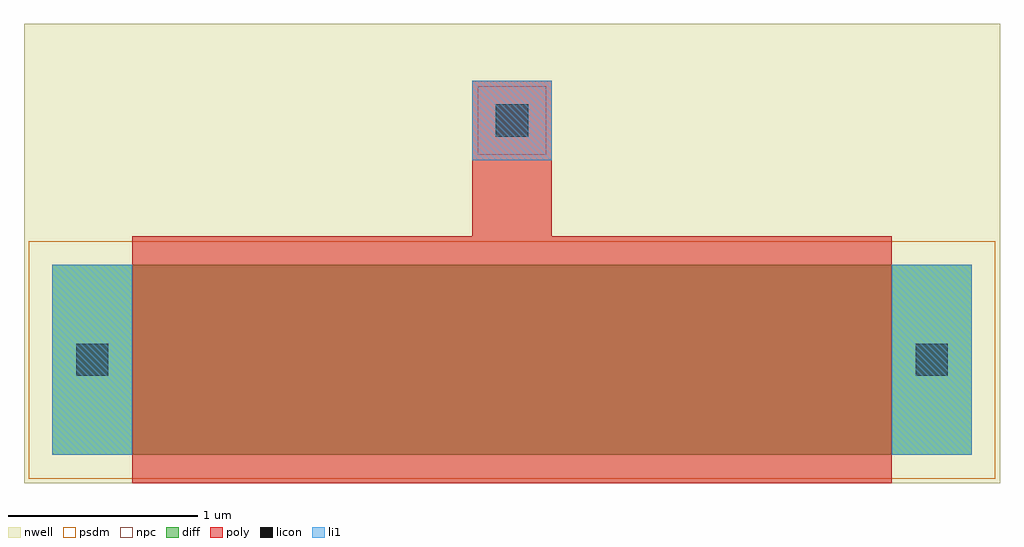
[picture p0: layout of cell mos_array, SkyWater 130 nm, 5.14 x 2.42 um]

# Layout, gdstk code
import gdstk
lib = gdstk.Library(unit=1e-6, precision=1e-09)
def R(c, l, rs):  # rectangles x0, y0, x1, y1
    for r in rs: c.add(gdstk.rectangle(r[:2], r[2:], *l))
nwell = (64, 20)
diff = (65, 20)
poly = (66, 20)
licon = (66, 44)
li1 = (67, 20)
psdm = (94, 20)
npc = (95, 20)

mos_array = lib.new_cell('mos_array')
R(mos_array, nwell, [(-0.15,-0.15,4.99,2.27)])
R(mos_array, diff, [(0,0,4.84,1)])
R(mos_array, poly, [(0.42,-0.15,4.42,1), (0.42,1,4.42,1.15), (0.42,1,4.42,1.15), (2.21,1.15,2.63,1.97)])
R(mos_array, licon, [(0.125,0.415,0.295,0.585), (4.545,0.415,4.715,0.585), (2.335,1.675,2.505,1.845)])
R(mos_array, li1, [(0,0,0.42,1), (4.42,0,4.84,1), (2.21,1.55,2.63,1.97)])
R(mos_array, psdm, [(-0.125,-0.125,4.965,1.125)])
R(mos_array, npc, [(2.24,1.58,2.6,1.94)])

lib.write_gds('mos_array.gds')
